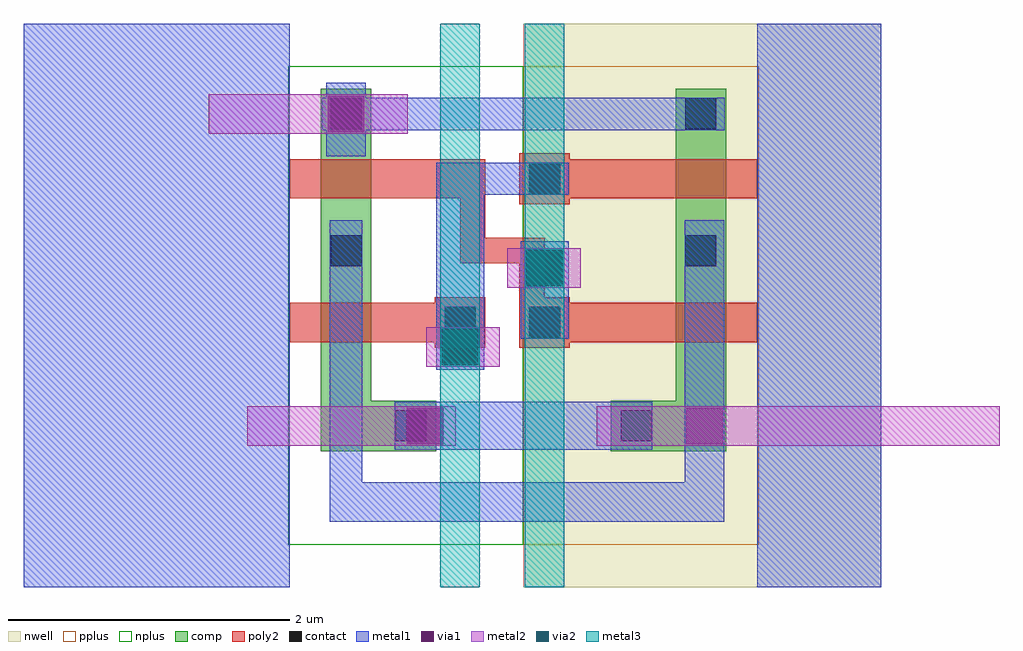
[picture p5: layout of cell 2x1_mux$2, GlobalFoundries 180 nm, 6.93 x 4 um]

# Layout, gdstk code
import gdstk
lib = gdstk.Library(unit=1e-6, precision=5e-09)
def R(c, l, rs):  # rectangles x0, y0, x1, y1
    for r in rs: c.add(gdstk.rectangle(r[:2], r[2:], *l))
nwell = (21, 0)
comp = (22, 0)
poly2 = (30, 0)
pplus = (31, 0)
nplus = (32, 0)
contact = (33, 0)
metal1 = (34, 0)
via1 = (35, 0)
metal2 = (36, 0)
via2 = (38, 0)
metal3 = (42, 0)

c_2x1_mux_2 = lib.new_cell('2x1_mux$2')
R(c_2x1_mux_2, nwell, [(43.58,1.44,46.12,5.44)])
R(c_2x1_mux_2, comp, [(42.14,2.405,42.5,4.98), (42.5,2.405,42.96,2.765), (44.2,2.405,44.66,2.765), (44.66,2.405,45.02,4.98)])
R(c_2x1_mux_2, poly2, [(42.95,3.14,43.31,3.5), (43.55,3.14,43.91,3.5), (41.92,3.18,42.95,3.46), (43.91,3.18,45.24,3.46), (43.55,3.5,43.73,3.74), (43.13,3.74,43.73,3.92), (43.13,3.92,43.31,4.2), (43.55,4.16,43.91,4.52), (41.92,4.2,43.31,4.48), (43.91,4.2,45.24,4.48)])
R(c_2x1_mux_2, pplus, [(43.58,1.74,45.25,5.14)])
R(c_2x1_mux_2, nplus, [(41.91,1.74,43.58,5.14)])
R(c_2x1_mux_2, contact, [(42.67,2.475,42.89,2.695), (44.27,2.475,44.49,2.695), (43.02,3.21,43.24,3.43), (43.62,3.21,43.84,3.43), (42.21,3.72,42.43,3.94), (44.73,3.72,44.95,3.94), (43.62,4.23,43.84,4.45), (42.21,4.69,42.43,4.91), (44.73,4.69,44.95,4.91)])
R(c_2x1_mux_2, metal1, [(40.03,1.44,41.92,5.44), (45.24,1.44,46.12,5.44), (42.205,1.905,42.435,4.045), (42.435,1.905,44.725,2.185), (44.725,1.905,45.005,4.045), (42.665,2.415,44.495,2.755), (42.96,2.985,43.3,4.225), (43.56,3.205,43.9,3.895), (42.96,4.225,43.9,4.455), (42.18,4.5,42.46,5.02), (42.15,4.685,45.01,4.915)])
R(c_2x1_mux_2, via1, [(42.75,2.455,43.01,2.715), (44.735,2.455,44.995,2.715), (43,3.015,43.26,3.275), (43.6,3.575,43.86,3.835), (42.19,4.67,42.45,4.93)])
R(c_2x1_mux_2, metal2, [(41.62,2.445,43.1,2.725), (44.1,2.445,46.96,2.725), (42.89,3.005,43.41,3.285), (43.465,3.565,43.985,3.845), (41.345,4.66,42.76,4.94)])
R(c_2x1_mux_2, via2, [(43,3.015,43.26,3.275), (43.6,3.575,43.86,3.835)])
R(c_2x1_mux_2, metal3, [(42.99,1.44,43.27,5.44), (43.59,1.44,43.87,5.44)])

lib.write_gds('2x1_mux_2.gds')
